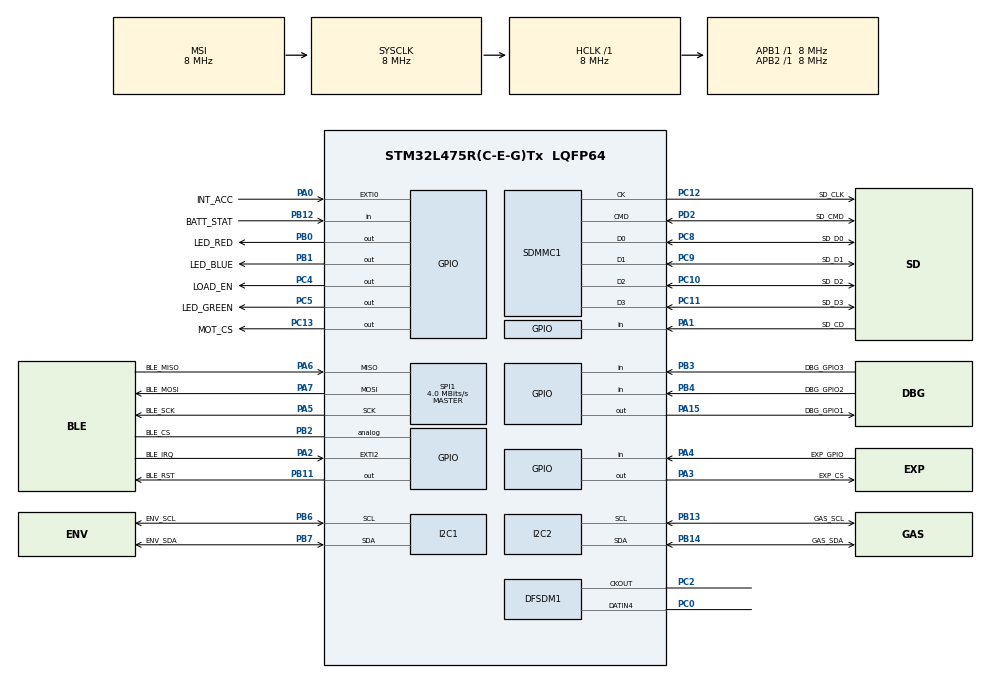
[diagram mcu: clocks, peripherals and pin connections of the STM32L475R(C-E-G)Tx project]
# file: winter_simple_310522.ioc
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DFSDM1.Divider=48
DFSDM1.DmaMode_reg_FIL0=ENABLE
DFSDM1.FastMode_reg_FIL0=ENABLE
DFSDM1.Filter_regChannel_FIL0=DFSDM_CHANNEL_4
DFSDM1.Fosr_FIL0=64
DFSDM1.RightBitShift_CH4=0x00
DFSDM1.Selection=DFSDM_CHANNEL_OUTPUT_CLOCK_AUDIO
DFSDM1.SincOrder_FIL0=DFSDM_FILTER_SINC4_ORDER
Dma.DFSDM1_FLT0.2.Direction=DMA_PERIPH_TO_MEMORY
Dma.DFSDM1_FLT0.2.Instance=DMA1_Channel4
Dma.DFSDM1_FLT0.2.MemDataAlignment=DMA_MDATAALIGN_WORD
Dma.DFSDM1_FLT0.2.MemInc=DMA_MINC_ENABLE
Dma.DFSDM1_FLT0.2.Mode=DMA_CIRCULAR
Dma.DFSDM1_FLT0.2.PeriphDataAlignment=DMA_PDATAALIGN_WORD
Dma.DFSDM1_FLT0.2.PeriphInc=DMA_PINC_DISABLE
Dma.DFSDM1_FLT0.2.Priority=DMA_PRIORITY_HIGH
Dma.MEMTOMEM.0.Direction=DMA_MEMORY_TO_MEMORY
Dma.MEMTOMEM.0.Instance=DMA2_Channel1
Dma.MEMTOMEM.0.MemDataAlignment=DMA_MDATAALIGN_BYTE
Dma.MEMTOMEM.0.MemInc=DMA_MINC_ENABLE
Dma.MEMTOMEM.0.Mode=DMA_NORMAL
Dma.MEMTOMEM.0.PeriphDataAlignment=DMA_PDATAALIGN_BYTE
Dma.MEMTOMEM.0.PeriphInc=DMA_PINC_ENABLE
Dma.MEMTOMEM.0.Priority=DMA_PRIORITY_MEDIUM
Dma.Request0=MEMTOMEM
Dma.Request1=SDMMC1
Dma.Request2=DFSDM1_FLT0
Dma.SDMMC1.1.Direction=DMA_PERIPH_TO_MEMORY
Dma.SDMMC1.1.Instance=DMA2_Channel4
Dma.SDMMC1.1.MemDataAlignment=DMA_MDATAALIGN_WORD
Dma.SDMMC1.1.MemInc=DMA_MINC_ENABLE
Dma.SDMMC1.1.Mode=DMA_NORMAL
Dma.SDMMC1.1.PeriphDataAlignment=DMA_PDATAALIGN_WORD
Dma.SDMMC1.1.PeriphInc=DMA_PINC_DISABLE
Dma.SDMMC1.1.Priority=DMA_PRIORITY_HIGH
FATFS.BSP.number=1
FATFS.USE_DMA_CODE_SD=1
FATFS._USE_LFN=3
FATFS0.BSP.STBoard=false
FATFS0.BSP.api=Unknown
FATFS0.BSP.i2caddr=0
FATFS0.BSP.instance=PA1
FATFS0.BSP.ip=GPIO
FATFS0.BSP.mode=Input
FATFS0.BSP.name=Detect_SDIO
FATFS0.BSP.solution=PA1
I2C1.Timing=0x2000090E
I2C2.Timing=0x2000090E
Mcu.Family=STM32L4
Mcu.Name=STM32L475R(C-E-G)Tx
Mcu.Package=LQFP64
NVIC.DFSDM1_FLT0_IRQn=true\:2\:0\:true\:false\:true\:true\:true
NVIC.DMA1_Channel4_IRQn=true\:0\:0\:true\:false\:true\:false\:true
NVIC.DMA2_Channel1_IRQn=true\:4\:0\:true\:false\:true\:true\:true
NVIC.DMA2_Channel4_IRQn=true\:3\:0\:true\:false\:true\:false\:true
NVIC.EXTI2_IRQn=true\:3\:0\:true\:false\:true\:true\:true
NVIC.PriorityGroup=NVIC_PRIORITYGROUP_4
NVIC.SDMMC1_IRQn=true\:1\:0\:true\:false\:true\:true\:true
PA0.GPIO_Label=INT_ACC
PA0.Signal=GPXTI0
PA1.GPIO_Label=SD_CD
PA1.GPIO_PuPd=GPIO_PULLUP
PA1.Signal=GPIO_Input
PA13\ (JTMS-SWDIO).Mode=Serial_Wire
PA13\ (JTMS-SWDIO).Signal=SYS_JTMS-SWDIO
PA14\ (JTCK-SWCLK).Mode=Serial_Wire
PA14\ (JTCK-SWCLK).Signal=SYS_JTCK-SWCLK
PA15\ (JTDI).GPIO_Label=DBG_GPIO1
PA15\ (JTDI).Signal=GPIO_Output
PA2.GPIO_Label=BLE_IRQ
PA2.GPIO_PuPd=GPIO_NOPULL
PA2.Signal=GPXTI2
PA3.GPIO_Label=EXP_CS
PA3.GPIO_PuPd=GPIO_PULLUP
PA3.PinState=GPIO_PIN_SET
PA3.Signal=GPIO_Output
PA4.GPIO_Label=EXP_GPIO
PA4.Signal=GPIO_Input
PA5.GPIO_Label=BLE_SCK
PA5.Mode=Full_Duplex_Master
PA5.Signal=SPI1_SCK
PA6.GPIO_Label=BLE_MISO
PA6.Mode=Full_Duplex_Master
PA6.Signal=SPI1_MISO
PA7.GPIO_Label=BLE_MOSI
PA7.Mode=Full_Duplex_Master
PA7.Signal=SPI1_MOSI
PB0.GPIO_Label=LED_RED
PB0.Signal=GPIO_Output
PB1.GPIO_Label=LED_BLUE
PB1.Signal=GPIO_Output
PB11.GPIO_Label=BLE_RST
PB11.PinState=GPIO_PIN_RESET
PB11.Signal=GPIO_Output
PB12.GPIO_Label=BATT_STAT
PB12.Signal=GPIO_Input
PB13.GPIO_Label=GAS_SCL
PB13.Mode=I2C
PB13.Signal=I2C2_SCL
PB14.GPIO_Label=GAS_SDA
PB14.Mode=I2C
PB14.Signal=I2C2_SDA
PB2.GPIO_Label=BLE_CS
PB2.Signal=GPIO_Analog
PB3\ (JTDO-TRACESWO).GPIO_Label=DBG_GPIO3
PB3\ (JTDO-TRACESWO).Signal=GPIO_Input
PB4\ (NJTRST).GPIO_Label=DBG_GPIO2
PB4\ (NJTRST).Signal=GPIO_Input
PB6.GPIO_Label=ENV_SCL
PB6.Mode=I2C
PB6.Signal=I2C1_SCL
PB7.GPIO_Label=ENV_SDA
PB7.Mode=I2C
PB7.Signal=I2C1_SDA
PC0.Signal=S_DATAIN4DFSDM1
PC10.GPIO_Label=SD_D2
PC10.GPIO_PuPd=GPIO_PULLUP
PC10.Mode=SD_4_bits_Wide_bus
PC10.Signal=SDMMC1_D2
PC11.GPIO_Label=SD_D3
PC11.GPIO_PuPd=GPIO_PULLUP
PC11.Mode=SD_4_bits_Wide_bus
PC11.Signal=SDMMC1_D3
PC12.GPIO_Label=SD_CLK
PC12.Mode=SD_4_bits_Wide_bus
PC12.Signal=SDMMC1_CK
PC13.GPIO_Label=MOT_CS
PC13.GPIO_PuPd=GPIO_PULLUP
PC13.PinState=GPIO_PIN_SET
PC13.Signal=GPIO_Output
PC14-OSC32_IN\ (PC14).Mode=LSE-External-Oscillator
PC14-OSC32_IN\ (PC14).Signal=RCC_OSC32_IN
PC15-OSC32_OUT\ (PC15).Mode=LSE-External-Oscillator
PC15-OSC32_OUT\ (PC15).Signal=RCC_OSC32_OUT
PC2.Signal=S_CKOUTDFSDM1
PC4.GPIO_Label=LOAD_EN
PC4.PinState=GPIO_PIN_SET
PC4.Signal=GPIO_Output
PC5.GPIO_Label=LED_GREEN
PC5.Signal=GPIO_Output
PC8.GPIO_Label=SD_D0
PC8.GPIO_PuPd=GPIO_PULLUP
PC8.Mode=SD_4_bits_Wide_bus
PC8.Signal=SDMMC1_D0
PC9.GPIO_Label=SD_D1
PC9.GPIO_PuPd=GPIO_PULLUP
PC9.Mode=SD_4_bits_Wide_bus
PC9.Signal=SDMMC1_D1
PD2.GPIO_Label=SD_CMD
PD2.GPIO_PuPd=GPIO_PULLUP
PD2.Mode=SD_4_bits_Wide_bus
PD2.Signal=SDMMC1_CMD
ProjectManager.HeapSize=0x200
ProjectManager.StackSize=0x400
ProjectManager.TargetToolchain=STM32CubeIDE
RCC.ADCFreq_Value=172000000
RCC.AHBFreq_Value=8000000
RCC.APB1Freq_Value=8000000
RCC.APB1TimFreq_Value=8000000
RCC.APB2Freq_Value=8000000
RCC.APB2TimFreq_Value=8000000
RCC.CK48CLockSelection=RCC_USBCLKSOURCE_MSI
RCC.CortexFreq_Value=8000000
RCC.HCLKFreq_Value=8000000
RCC.HSE_VALUE=8000000
RCC.HSI_VALUE=16000000
RCC.I2C1CLockSelection=RCC_I2C1CLKSOURCE_SYSCLK
RCC.I2C2CLockSelection=RCC_I2C2CLKSOURCE_SYSCLK
RCC.I2C3CLockSelection=RCC_I2C3CLKSOURCE_SYSCLK
RCC.MSIClockRange=RCC_MSIRANGE_7
RCC.MSI_VALUE=8000000
RCC.PLLSAI1N=43
RCC.RTCClockSelection=RCC_RTCCLKSOURCE_LSE
RCC.SYSCLKFreq_VALUE=8000000
RCC.USART1CLockSelection=RCC_USART1CLKSOURCE_HSI
RCC.USBFreq_Value=8000000
RCC.VCOOutputFreq_Value=64000000
RTC.Year=0
SDMMC1.ClockDiv=0
SH.S_CKOUTDFSDM1.0=DFSDM1_CKOUT,PDM_SPI_input_from_ch4_and_internal_clock
SH.S_DATAIN4DFSDM1.0=DFSDM1_DATIN4,PDM_SPI_input_from_ch4_and_internal_clock
SPI1.BaudRatePrescaler=SPI_BAUDRATEPRESCALER_2
SPI1.CLKPolarity=SPI_POLARITY_LOW
SPI1.CalculateBaudRate=4.0 MBits/s
SPI1.DataSize=SPI_DATASIZE_8BIT
SPI1.Direction=SPI_DIRECTION_2LINES
SPI1.Mode=SPI_MODE_MASTER
SPI1.VirtualType=VM_MASTER
VP_FATFS_VS_SDIO.Mode=SDIO
VP_RTC_VS_RTC_Activate.Mode=RTC_Enabled
VP_RTC_VS_RTC_Calendar.Mode=RTC_Calendar
board=custom

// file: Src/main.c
/* USER CODE BEGIN Header */
/**
 ******************************************************************************
 * @file           : main.c
 * @brief          : Main program body
 ******************************************************************************
 * @attention
 *
 * <h2><center>&copy; Copyright (c) 2020 STMicroelectronics.
 * All rights reserved.</center></h2>
 *
 * This software component is licensed by ST under BSD 3-Clause license,
 * the "License"; You may not use this file except in compliance with the
 * License. You may obtain a copy of the License at:
 *                        opensource.org/licenses/BSD-3-Clause
 *
 ******************************************************************************
 */
/* USER CODE END Header */

#include "main.h"
#include "fatfs.h"

/* USER CODE BEGIN Includes */
#include "app.h"
/* USER CODE END Includes */

DFSDM_Filter_HandleTypeDef hdfsdm1_filter0;
DFSDM_Channel_HandleTypeDef hdfsdm1_channel4;
DMA_HandleTypeDef hdma_dfsdm1_flt0;

I2C_HandleTypeDef hi2c1;
I2C_HandleTypeDef hi2c2;

RTC_HandleTypeDef hrtc;

SD_HandleTypeDef hsd1;
DMA_HandleTypeDef hdma_sdmmc1;

SPI_HandleTypeDef hspi1;

DMA_HandleTypeDef hdma_memtomem_dma2_channel1;

void SystemClock_Config(void);
static void MX_GPIO_Init(void);
static void MX_DMA_Init(void);
static void MX_I2C1_Init(void);
static void MX_I2C2_Init(void);
static void MX_SDMMC1_SD_Init(void);
static void MX_SPI1_Init(void);
static void MX_RTC_Init(void);
static void MX_DFSDM1_Init(void);

/* USER CODE BEGIN 0 */
extern volatile Winter_t winter;
/* USER CODE END 0 */

int main(void)
{

  /* MCU Configuration--------------------------------------------------------*/

  /* Reset of all peripherals, Initializes the Flash interface and the Systick. */
  HAL_Init();

  /* Configure the system clock */
  SystemClock_Config();

  /* Initialize all configured peripherals */
  MX_GPIO_Init();
  MX_DMA_Init();
  MX_I2C1_Init();
  MX_I2C2_Init();
  MX_SDMMC1_SD_Init();
  MX_SPI1_Init();
  MX_RTC_Init();
  MX_FATFS_Init();
  MX_DFSDM1_Init();
  /* USER CODE BEGIN 2 */
	App_InitSystem();
  /* USER CODE END 2 */

  /* Infinite loop */
	while (1) {

	}
}

void SystemClock_Config(void)
{
  RCC_OscInitTypeDef RCC_OscInitStruct = {0};
  RCC_ClkInitTypeDef RCC_ClkInitStruct = {0};
  RCC_PeriphCLKInitTypeDef PeriphClkInit = {0};

  /** Configure LSE Drive Capability
  */
  HAL_PWR_EnableBkUpAccess();
  __HAL_RCC_LSEDRIVE_CONFIG(RCC_LSEDRIVE_LOW);
  /** Initializes the CPU, AHB and APB busses clocks
  */
  RCC_OscInitStruct.OscillatorType = RCC_OSCILLATORTYPE_LSE|RCC_OSCILLATORTYPE_MSI;
  RCC_OscInitStruct.LSEState = RCC_LSE_ON;
  RCC_OscInitStruct.MSIState = RCC_MSI_ON;
  RCC_OscInitStruct.MSICalibrationValue = 0;
  RCC_OscInitStruct.MSIClockRange = RCC_MSIRANGE_7;
  RCC_OscInitStruct.PLL.PLLState = RCC_PLL_NONE;
  if (HAL_RCC_OscConfig(&RCC_OscInitStruct) != HAL_OK)
  {
    Error_Handler();
  }
  /** Initializes the CPU, AHB and APB busses clocks
  */
  RCC_ClkInitStruct.ClockType = RCC_CLOCKTYPE_HCLK|RCC_CLOCKTYPE_SYSCLK
                              |RCC_CLOCKTYPE_PCLK1|RCC_CLOCKTYPE_PCLK2;
  RCC_ClkInitStruct.SYSCLKSource = RCC_SYSCLKSOURCE_MSI;
  RCC_ClkInitStruct.AHBCLKDivider = RCC_SYSCLK_DIV1;
  RCC_ClkInitStruct.APB1CLKDivider = RCC_HCLK_DIV1;
  RCC_ClkInitStruct.APB2CLKDivider = RCC_HCLK_DIV1;

  if (HAL_RCC_ClockConfig(&RCC_ClkInitStruct, FLASH_LATENCY_0) != HAL_OK)
  {
    Error_Handler();
  }
  PeriphClkInit.PeriphClockSelection = RCC_PERIPHCLK_RTC|RCC_PERIPHCLK_SAI1
                              |RCC_PERIPHCLK_I2C1|RCC_PERIPHCLK_I2C2
                              |RCC_PERIPHCLK_DFSDM1|RCC_PERIPHCLK_SDMMC1;
  PeriphClkInit.I2c1ClockSelection = RCC_I2C1CLKSOURCE_SYSCLK;
  PeriphClkInit.I2c2ClockSelection = RCC_I2C2CLKSOURCE_SYSCLK;
  PeriphClkInit.Sai1ClockSelection = RCC_SAI1CLKSOURCE_PLLSAI1;
  PeriphClkInit.Dfsdm1ClockSelection = RCC_DFSDM1CLKSOURCE_PCLK;
  PeriphClkInit.RTCClockSelection = RCC_RTCCLKSOURCE_LSE;
  PeriphClkInit.Sdmmc1ClockSelection = RCC_SDMMC1CLKSOURCE_MSI;
  PeriphClkInit.PLLSAI1.PLLSAI1Source = RCC_PLLSOURCE_MSI;
  PeriphClkInit.PLLSAI1.PLLSAI1M = 1;
  PeriphClkInit.PLLSAI1.PLLSAI1N = 43;
  PeriphClkInit.PLLSAI1.PLLSAI1P = RCC_PLLP_DIV7;
  PeriphClkInit.PLLSAI1.PLLSAI1Q = RCC_PLLQ_DIV2;
  PeriphClkInit.PLLSAI1.PLLSAI1R = RCC_PLLR_DIV2;
  PeriphClkInit.PLLSAI1.PLLSAI1ClockOut = RCC_PLLSAI1_SAI1CLK;
  if (HAL_RCCEx_PeriphCLKConfig(&PeriphClkInit) != HAL_OK)
  {
    Error_Handler();
  }
  /** Configure the main internal regulator output voltage
  */
  if (HAL_PWREx_ControlVoltageScaling(PWR_REGULATOR_VOLTAGE_SCALE1) != HAL_OK)
  {
    Error_Handler();
  }
  /** Enable MSI Auto calibration
  */
  HAL_RCCEx_EnableMSIPLLMode();
}

static void MX_DFSDM1_Init(void)
{

  hdfsdm1_filter0.Instance = DFSDM1_Filter0;
  hdfsdm1_filter0.Init.RegularParam.Trigger = DFSDM_FILTER_SW_TRIGGER;
  hdfsdm1_filter0.Init.RegularParam.FastMode = ENABLE;
  hdfsdm1_filter0.Init.RegularParam.DmaMode = ENABLE;
  hdfsdm1_filter0.Init.FilterParam.SincOrder = DFSDM_FILTER_SINC4_ORDER;
  hdfsdm1_filter0.Init.FilterParam.Oversampling = 64;
  hdfsdm1_filter0.Init.FilterParam.IntOversampling = 1;
  if (HAL_DFSDM_FilterInit(&hdfsdm1_filter0) != HAL_OK)
  {
    Error_Handler();
  }
  hdfsdm1_channel4.Instance = DFSDM1_Channel4;
  hdfsdm1_channel4.Init.OutputClock.Activation = ENABLE;
  hdfsdm1_channel4.Init.OutputClock.Selection = DFSDM_CHANNEL_OUTPUT_CLOCK_AUDIO;
  hdfsdm1_channel4.Init.OutputClock.Divider = 48;
  hdfsdm1_channel4.Init.Input.Multiplexer = DFSDM_CHANNEL_EXTERNAL_INPUTS;
  hdfsdm1_channel4.Init.Input.DataPacking = DFSDM_CHANNEL_STANDARD_MODE;
  hdfsdm1_channel4.Init.Input.Pins = DFSDM_CHANNEL_SAME_CHANNEL_PINS;
  hdfsdm1_channel4.Init.SerialInterface.Type = DFSDM_CHANNEL_SPI_RISING;
  hdfsdm1_channel4.Init.SerialInterface.SpiClock = DFSDM_CHANNEL_SPI_CLOCK_INTERNAL;
  hdfsdm1_channel4.Init.Awd.FilterOrder = DFSDM_CHANNEL_FASTSINC_ORDER;
  hdfsdm1_channel4.Init.Awd.Oversampling = 1;
  hdfsdm1_channel4.Init.Offset = 0;
  hdfsdm1_channel4.Init.RightBitShift = 0x00;
  if (HAL_DFSDM_ChannelInit(&hdfsdm1_channel4) != HAL_OK)
  {
    Error_Handler();
  }
  if (HAL_DFSDM_FilterConfigRegChannel(&hdfsdm1_filter0, DFSDM_CHANNEL_4, DFSDM_CONTINUOUS_CONV_ON) != HAL_OK)
  {
    Error_Handler();
  }

}

static void MX_I2C1_Init(void)
{

  hi2c1.Instance = I2C1;
  hi2c1.Init.Timing = 0x2000090E;
  hi2c1.Init.OwnAddress1 = 0;
  hi2c1.Init.AddressingMode = I2C_ADDRESSINGMODE_7BIT;
  hi2c1.Init.DualAddressMode = I2C_DUALADDRESS_DISABLE;
  hi2c1.Init.OwnAddress2 = 0;
  hi2c1.Init.OwnAddress2Masks = I2C_OA2_NOMASK;
  hi2c1.Init.GeneralCallMode = I2C_GENERALCALL_DISABLE;
  hi2c1.Init.NoStretchMode = I2C_NOSTRETCH_DISABLE;
  if (HAL_I2C_Init(&hi2c1) != HAL_OK)
  {
    Error_Handler();
  }
  /** Configure Analogue filter
  */
  if (HAL_I2CEx_ConfigAnalogFilter(&hi2c1, I2C_ANALOGFILTER_ENABLE) != HAL_OK)
  {
    Error_Handler();
  }
  /** Configure Digital filter
  */
  if (HAL_I2CEx_ConfigDigitalFilter(&hi2c1, 0) != HAL_OK)
  {
    Error_Handler();
  }

}

static void MX_I2C2_Init(void)
{

  hi2c2.Instance = I2C2;
  hi2c2.Init.Timing = 0x2000090E;
  hi2c2.Init.OwnAddress1 = 0;
  hi2c2.Init.AddressingMode = I2C_ADDRESSINGMODE_7BIT;
  hi2c2.Init.DualAddressMode = I2C_DUALADDRESS_DISABLE;
  hi2c2.Init.OwnAddress2 = 0;
  hi2c2.Init.OwnAddress2Masks = I2C_OA2_NOMASK;
  hi2c2.Init.GeneralCallMode = I2C_GENERALCALL_DISABLE;
  hi2c2.Init.NoStretchMode = I2C_NOSTRETCH_DISABLE;
  if (HAL_I2C_Init(&hi2c2) != HAL_OK)
  {
    Error_Handler();
  }
  /** Configure Analogue filter
  */
  if (HAL_I2CEx_ConfigAnalogFilter(&hi2c2, I2C_ANALOGFILTER_ENABLE) != HAL_OK)
  {
    Error_Handler();
  }
  /** Configure Digital filter
  */
  if (HAL_I2CEx_ConfigDigitalFilter(&hi2c2, 0) != HAL_OK)
  {
    Error_Handler();
  }

}

static void MX_RTC_Init(void)
{

  RTC_TimeTypeDef sTime = {0};
  RTC_DateTypeDef sDate = {0};

  /** Initialize RTC Only
  */
  hrtc.Instance = RTC;
  hrtc.Init.HourFormat = RTC_HOURFORMAT_24;
  hrtc.Init.AsynchPrediv = 127;
  hrtc.Init.SynchPrediv = 255;
  hrtc.Init.OutPut = RTC_OUTPUT_DISABLE;
  hrtc.Init.OutPutRemap = RTC_OUTPUT_REMAP_NONE;
  hrtc.Init.OutPutPolarity = RTC_OUTPUT_POLARITY_HIGH;
  hrtc.Init.OutPutType = RTC_OUTPUT_TYPE_OPENDRAIN;
  if (HAL_RTC_Init(&hrtc) != HAL_OK)
  {
    Error_Handler();
  }

  /** Initialize RTC and set the Time and Date
  */
  sTime.Hours = 0x0;
  sTime.Minutes = 0x0;
  sTime.Seconds = 0x0;
  sTime.DayLightSaving = RTC_DAYLIGHTSAVING_NONE;
  sTime.StoreOperation = RTC_STOREOPERATION_RESET;
  if (HAL_RTC_SetTime(&hrtc, &sTime, RTC_FORMAT_BCD) != HAL_OK)
  {
    Error_Handler();
  }
  sDate.WeekDay = RTC_WEEKDAY_MONDAY;
  sDate.Month = RTC_MONTH_JANUARY;
  sDate.Date = 0x1;
  sDate.Year = 0x0;

  if (HAL_RTC_SetDate(&hrtc, &sDate, RTC_FORMAT_BCD) != HAL_OK)
  {
    Error_Handler();
  }

}

static void MX_SDMMC1_SD_Init(void)
{

  hsd1.Instance = SDMMC1;
  hsd1.Init.ClockEdge = SDMMC_CLOCK_EDGE_RISING;
  hsd1.Init.ClockBypass = SDMMC_CLOCK_BYPASS_DISABLE;
  hsd1.Init.ClockPowerSave = SDMMC_CLOCK_POWER_SAVE_DISABLE;
  hsd1.Init.BusWide = SDMMC_BUS_WIDE_1B;
  hsd1.Init.HardwareFlowControl = SDMMC_HARDWARE_FLOW_CONTROL_DISABLE;
  hsd1.Init.ClockDiv = 0;

}

static void MX_SPI1_Init(void)
{

  /* SPI1 parameter configuration*/
  hspi1.Instance = SPI1;
  hspi1.Init.Mode = SPI_MODE_MASTER;
  hspi1.Init.Direction = SPI_DIRECTION_2LINES;
  hspi1.Init.DataSize = SPI_DATASIZE_8BIT;
  hspi1.Init.CLKPolarity = SPI_POLARITY_LOW;
  hspi1.Init.CLKPhase = SPI_PHASE_1EDGE;
  hspi1.Init.NSS = SPI_NSS_SOFT;
  hspi1.Init.BaudRatePrescaler = SPI_BAUDRATEPRESCALER_2;
  hspi1.Init.FirstBit = SPI_FIRSTBIT_MSB;
  hspi1.Init.TIMode = SPI_TIMODE_DISABLE;
  hspi1.Init.CRCCalculation = SPI_CRCCALCULATION_DISABLE;
  hspi1.Init.CRCPolynomial = 7;
  hspi1.Init.CRCLength = SPI_CRC_LENGTH_DATASIZE;
  hspi1.Init.NSSPMode = SPI_NSS_PULSE_ENABLE;
  if (HAL_SPI_Init(&hspi1) != HAL_OK)
  {
    Error_Handler();
  }

}

static void MX_DMA_Init(void)
{

  /* DMA controller clock enable */
  __HAL_RCC_DMA2_CLK_ENABLE();
  __HAL_RCC_DMA1_CLK_ENABLE();

  /* Configure DMA request hdma_memtomem_dma2_channel1 on DMA2_Channel1 */
  hdma_memtomem_dma2_channel1.Instance = DMA2_Channel1;
  hdma_memtomem_dma2_channel1.Init.Request = DMA_REQUEST_0;
  hdma_memtomem_dma2_channel1.Init.Direction = DMA_MEMORY_TO_MEMORY;
  hdma_memtomem_dma2_channel1.Init.PeriphInc = DMA_PINC_ENABLE;
  hdma_memtomem_dma2_channel1.Init.MemInc = DMA_MINC_ENABLE;
  hdma_memtomem_dma2_channel1.Init.PeriphDataAlignment = DMA_PDATAALIGN_BYTE;
  hdma_memtomem_dma2_channel1.Init.MemDataAlignment = DMA_MDATAALIGN_BYTE;
  hdma_memtomem_dma2_channel1.Init.Mode = DMA_NORMAL;
  hdma_memtomem_dma2_channel1.Init.Priority = DMA_PRIORITY_MEDIUM;
  if (HAL_DMA_Init(&hdma_memtomem_dma2_channel1) != HAL_OK)
  {
    Error_Handler( );
  }

  /* DMA interrupt init */
  /* DMA1_Channel4_IRQn interrupt configuration */
  HAL_NVIC_SetPriority(DMA1_Channel4_IRQn, 0, 0);
  HAL_NVIC_EnableIRQ(DMA1_Channel4_IRQn);
  /* DMA2_Channel1_IRQn interrupt configuration */
  HAL_NVIC_SetPriority(DMA2_Channel1_IRQn, 4, 0);
  HAL_NVIC_EnableIRQ(DMA2_Channel1_IRQn);
  /* DMA2_Channel4_IRQn interrupt configuration */
  HAL_NVIC_SetPriority(DMA2_Channel4_IRQn, 3, 0);
  HAL_NVIC_EnableIRQ(DMA2_Channel4_IRQn);

}

static void MX_GPIO_Init(void)
{
  GPIO_InitTypeDef GPIO_InitStruct = {0};

  /* GPIO Ports Clock Enable */
  __HAL_RCC_GPIOC_CLK_ENABLE();
  __HAL_RCC_GPIOH_CLK_ENABLE();
  __HAL_RCC_GPIOA_CLK_ENABLE();
  __HAL_RCC_GPIOB_CLK_ENABLE();
  __HAL_RCC_GPIOD_CLK_ENABLE();

  /*Configure GPIO pin Output Level */
  HAL_GPIO_WritePin(GPIOC, MOT_CS_Pin|LOAD_EN_Pin, GPIO_PIN_SET);

  /*Configure GPIO pin Output Level */
  HAL_GPIO_WritePin(EXP_CS_GPIO_Port, EXP_CS_Pin, GPIO_PIN_SET);

  /*Configure GPIO pin Output Level */
  HAL_GPIO_WritePin(LED_GREEN_GPIO_Port, LED_GREEN_Pin, GPIO_PIN_RESET);

  /*Configure GPIO pin Output Level */
  HAL_GPIO_WritePin(GPIOB, LED_RED_Pin|LED_BLUE_Pin|BLE_RST_Pin, GPIO_PIN_RESET);

  /*Configure GPIO pin Output Level */
  HAL_GPIO_WritePin(DBG_GPIO1_GPIO_Port, DBG_GPIO1_Pin, GPIO_PIN_RESET);

  /*Configure GPIO pin : MOT_CS_Pin */
  GPIO_InitStruct.Pin = MOT_CS_Pin;
  GPIO_InitStruct.Mode = GPIO_MODE_OUTPUT_PP;
  GPIO_InitStruct.Pull = GPIO_PULLUP;
  GPIO_InitStruct.Speed = GPIO_SPEED_FREQ_LOW;
  HAL_GPIO_Init(MOT_CS_GPIO_Port, &GPIO_InitStruct);

  /*Configure GPIO pins : PH0 PH1 */
  GPIO_InitStruct.Pin = GPIO_PIN_0|GPIO_PIN_1;
  GPIO_InitStruct.Mode = GPIO_MODE_ANALOG;
  GPIO_InitStruct.Pull = GPIO_NOPULL;
  HAL_GPIO_Init(GPIOH, &GPIO_InitStruct);

  /*Configure GPIO pins : PC1 PC3 PC6 PC7 */
  GPIO_InitStruct.Pin = GPIO_PIN_1|GPIO_PIN_3|GPIO_PIN_6|GPIO_PIN_7;
  GPIO_InitStruct.Mode = GPIO_MODE_ANALOG;
  GPIO_InitStruct.Pull = GPIO_NOPULL;
  HAL_GPIO_Init(GPIOC, &GPIO_InitStruct);

  /*Configure GPIO pins : INT_ACC_Pin BLE_IRQ_Pin */
  GPIO_InitStruct.Pin = INT_ACC_Pin|BLE_IRQ_Pin;
  GPIO_InitStruct.Mode = GPIO_MODE_IT_RISING;
  GPIO_InitStruct.Pull = GPIO_NOPULL;
  HAL_GPIO_Init(GPIOA, &GPIO_InitStruct);

  /*Configure GPIO pin : SD_CD_Pin */
  GPIO_InitStruct.Pin = SD_CD_Pin;
  GPIO_InitStruct.Mode = GPIO_MODE_INPUT;
  GPIO_InitStruct.Pull = GPIO_PULLUP;
  HAL_GPIO_Init(SD_CD_GPIO_Port, &GPIO_InitStruct);

  /*Configure GPIO pin : EXP_CS_Pin */
  GPIO_InitStruct.Pin = EXP_CS_Pin;
  GPIO_InitStruct.Mode = GPIO_MODE_OUTPUT_PP;
  GPIO_InitStruct.Pull = GPIO_PULLUP;
  GPIO_InitStruct.Speed = GPIO_SPEED_FREQ_LOW;
  HAL_GPIO_Init(EXP_CS_GPIO_Port, &GPIO_InitStruct);

  /*Configure GPIO pin : EXP_GPIO_Pin */
  GPIO_InitStruct.Pin = EXP_GPIO_Pin;
  GPIO_InitStruct.Mode = GPIO_MODE_INPUT;
  GPIO_InitStruct.Pull = GPIO_NOPULL;
  HAL_GPIO_Init(EXP_GPIO_GPIO_Port, &GPIO_InitStruct);

  /*Configure GPIO pins : LOAD_EN_Pin LED_GREEN_Pin */
  GPIO_InitStruct.Pin = LOAD_EN_Pin|LED_GREEN_Pin;
  GPIO_InitStruct.Mode = GPIO_MODE_OUTPUT_PP;
  GPIO_InitStruct.Pull = GPIO_NOPULL;
  GPIO_InitStruct.Speed = GPIO_SPEED_FREQ_LOW;
  HAL_GPIO_Init(GPIOC, &GPIO_InitStruct);

  /*Configure GPIO pins : LED_RED_Pin LED_BLUE_Pin BLE_RST_Pin */
  GPIO_InitStruct.Pin = LED_RED_Pin|LED_BLUE_Pin|BLE_RST_Pin;
  GPIO_InitStruct.Mode = GPIO_MODE_OUTPUT_PP;
  GPIO_InitStruct.Pull = GPIO_NOPULL;
  GPIO_InitStruct.Speed = GPIO_SPEED_FREQ_LOW;
  HAL_GPIO_Init(GPIOB, &GPIO_InitStruct);

  /*Configure GPIO pins : BLE_CS_Pin PB10 PB15 PB5
                           PB8 PB9 */
  GPIO_InitStruct.Pin = BLE_CS_Pin|GPIO_PIN_10|GPIO_PIN_15|GPIO_PIN_5
                          |GPIO_PIN_8|GPIO_PIN_9;
  GPIO_InitStruct.Mode = GPIO_MODE_ANALOG;
  GPIO_InitStruct.Pull = GPIO_NOPULL;
  HAL_GPIO_Init(GPIOB, &GPIO_InitStruct);

  /*Configure GPIO pins : BATT_STAT_Pin DBG_GPIO3_Pin DBG_GPIO2_Pin */
  GPIO_InitStruct.Pin = BATT_STAT_Pin|DBG_GPIO3_Pin|DBG_GPIO2_Pin;
  GPIO_InitStruct.Mode = GPIO_MODE_INPUT;
  GPIO_InitStruct.Pull = GPIO_NOPULL;
  HAL_GPIO_Init(GPIOB, &GPIO_InitStruct);

  /*Configure GPIO pins : PA8 PA9 PA10 PA11
                           PA12 */
  GPIO_InitStruct.Pin = GPIO_PIN_8|GPIO_PIN_9|GPIO_PIN_10|GPIO_PIN_11
                          |GPIO_PIN_12;
  GPIO_InitStruct.Mode = GPIO_MODE_ANALOG;
  GPIO_InitStruct.Pull = GPIO_NOPULL;
  HAL_GPIO_Init(GPIOA, &GPIO_InitStruct);

  /*Configure GPIO pin : DBG_GPIO1_Pin */
  GPIO_InitStruct.Pin = DBG_GPIO1_Pin;
  GPIO_InitStruct.Mode = GPIO_MODE_OUTPUT_PP;
  GPIO_InitStruct.Pull = GPIO_NOPULL;
  GPIO_InitStruct.Speed = GPIO_SPEED_FREQ_LOW;
  HAL_GPIO_Init(DBG_GPIO1_GPIO_Port, &GPIO_InitStruct);

  /* EXTI interrupt init*/
  HAL_NVIC_SetPriority(EXTI2_IRQn, 3, 0);
  HAL_NVIC_EnableIRQ(EXTI2_IRQn);

}

/* USER CODE BEGIN 4 */
/**
 * @brief  Write an amount of data in the specified device and register, in
 * 		   blocking mode.
 * @param  i2c        I2C_e enumeration value.
 * @param  DevAddress Target device address.
 * @param  pData 	  Pointer to data buffer.
 * @param  Size 	  Amount of data to be sent.
 * @return HAL status.
 */
uint8_t I2C_Write(I2C_e i2c, uint8_t DevAddress, uint8_t *pData, uint8_t Size) {
	HAL_StatusTypeDef res = HAL_OK;

	switch (i2c) {
	case I2C_ENV:
		res |= HAL_I2C_Master_Transmit(&hi2c1, DevAddress, pData, Size, 100);
		break;
	case I2C_GAS:
		res |= HAL_I2C_Master_Transmit(&hi2c2, DevAddress, pData, Size, 100);
		break;
	default:
		break;
	}

	return res;
}

/**
 * @brief  Read an amount of data from the specified device and register, in
 * 		   blocking mode.
 * @param  i2c        I2C_e enumeration value.
 * @param  DevAddress Target device address.
 * @param  RegAddress Target register address.
 * @param  pData 	  Pointer to data buffer.
 * @param  Size 	  Amount of data to be sent.
 * @return HAL status.
 */
uint8_t I2C_Read(I2C_e i2c, uint8_t DevAddress, uint8_t RegAddress,
		uint8_t *pData, uint16_t Size) {
	HAL_StatusTypeDef res = HAL_OK;

	switch (i2c) {
	case I2C_ENV:
		res |= HAL_I2C_Master_Transmit(&hi2c1, DevAddress, &RegAddress, 1, 100);
		if (res == HAL_OK)
			res |= HAL_I2C_Master_Receive(&hi2c1, DevAddress, pData, Size, 100);
		break;
	case I2C_GAS:
		res |= HAL_I2C_Master_Transmit(&hi2c2, DevAddress, &RegAddress, 1, 100);
		if (res == HAL_OK)
			res |= HAL_I2C_Master_Receive(&hi2c2, DevAddress, pData, Size, 100);
		break;
	default:
		res = HAL_ERROR;
		break;
	}

	return res;
}

/* USER CODE END 4 */

void Error_Handler(void)
{
  /* USER CODE BEGIN Error_Handler_Debug */
	/* User can add his own implementation to report the HAL error return state */
	// Suspend tick
	HAL_SuspendTick();

	// Turn ON red LED
	IO_ResetLED(LED_GREEN | LED_BLUE);
	IO_SetLED(LED_RED);

	while (1) {
	}
  /* USER CODE END Error_Handler_Debug */
}

/************************ (C) COPYRIGHT STMicroelectronics *****END OF FILE****/
